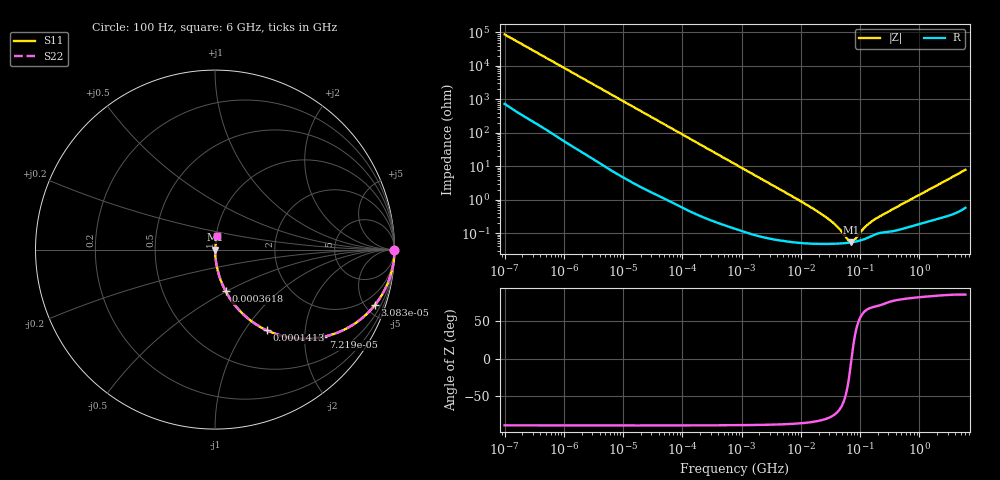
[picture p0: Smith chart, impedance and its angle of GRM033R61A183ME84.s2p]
!Murata Part Number: GRM033R61A183ME84
!These Parameters are Measured in Series Mode Connection
!Data Generated on Mar 30, 2021
!  o--ll--o
!Port1  Port2
!  o------o
!Operation Temp=25[degC], DC Bias Voltage=0[V]
!Freq. Start=100[Hz] Stop=6[GHz] 401[Steps]
# Hz S RI R 50
!Freq.(Hz) S11(Real) S11(Imag) S21(Real) S21(Imag) S12(Real) S12(Imag) S22(Real) S22(Imag)
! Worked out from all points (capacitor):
!   401 points, 100 Hz to 6 GHz, reference 50 ohm
!   read as one part in series: C = 18.3 nF near 109 Hz
!   lowest |Z| = 53 mohm at 71.29 MHz (marker M1)
!   series resonance near 71.86 MHz, so ESL is about 270 pH
!   S11 on the Smith chart (normalised r, x): 100 Hz: open; 30.83 kHz: 1.03, -5.77; 72.19 kHz: 1.02, -2.47; 141.3 kHz: 1.01, -1.27; 361.8 kHz: 1.00, -0.50; 6 GHz: 1.01, +0.16
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100  1 -0.00115  1.1e-05 0.00115  1.1e-05 0.00115  1 -0.00115
2008  0.9993 -0.0228  0.000656 0.0228  0.000656 0.0228  0.9993 -0.0228
9626  0.9878 -0.1073  0.0122 0.1073  0.0122 0.1073  0.9878 -0.1073
30832  0.8913 -0.3085  0.1087 0.3085  0.1087 0.3085  0.8913 -0.3085
40335  0.8281 -0.3744  0.1719 0.3744  0.1719 0.3744  0.8281 -0.3744
72189  0.6036 -0.486  0.3964 0.486  0.3964 0.486  0.6036 -0.486
98762  0.4501 -0.4943  0.5499 0.4943  0.5499 0.4943  0.4501 -0.4943
141303  0.2872 -0.4491  0.7128 0.4491  0.7128 0.4491  0.2872 -0.4491
221108  0.1428 -0.3461  0.8572 0.3461  0.8572 0.3461  0.1428 -0.3461
361830  0.0597 -0.2327  0.9403 0.2327  0.9403 0.2327  0.0597 -0.2327
774597  0.0146 -0.1144  0.9854 0.1144  0.9854 0.1144  0.0146 -0.1144
2481164  0.00206 -0.0364  0.9979 0.0364  0.9979 0.0364  0.00206 -0.0364
1.555665e7  0.000514 -0.00559  0.9995 0.00559  0.9995 0.00559  0.000514 -0.00559
3.482834e7  0.000483 -0.002  0.9995 0.002  0.9995 0.002  0.000483 -0.002
4.556224e7  0.000491 -0.0012  0.9995 0.0012  0.9995 0.0012  0.000491 -0.0012
6.233367e7  0.000513 -0.000361  0.9995 0.000361  0.9995 0.000361  0.000513 -0.000361
7.129496e7  0.00053 -1.95e-05  0.9995 1.95e-05  0.9995 1.95e-05  0.00053 -1.95e-05
8.154455e7  0.000552 0.00032  0.9994 -0.00032  0.9994 -0.00032  0.000552 0.00032
1.115611e8  0.000638 0.00113  0.9994 -0.00113  0.9994 -0.00113  0.000638 0.00113
1.459435e8  0.000773 0.00187  0.9992 -0.00187  0.9992 -0.00187  0.000773 0.00187
3.124326e8  0.00112 0.0044  0.9989 -0.0044  0.9989 -0.0044  0.00112 0.0044
6e9  0.0117 0.0768  0.9883 -0.0768  0.9883 -0.0768  0.0117 0.0768
